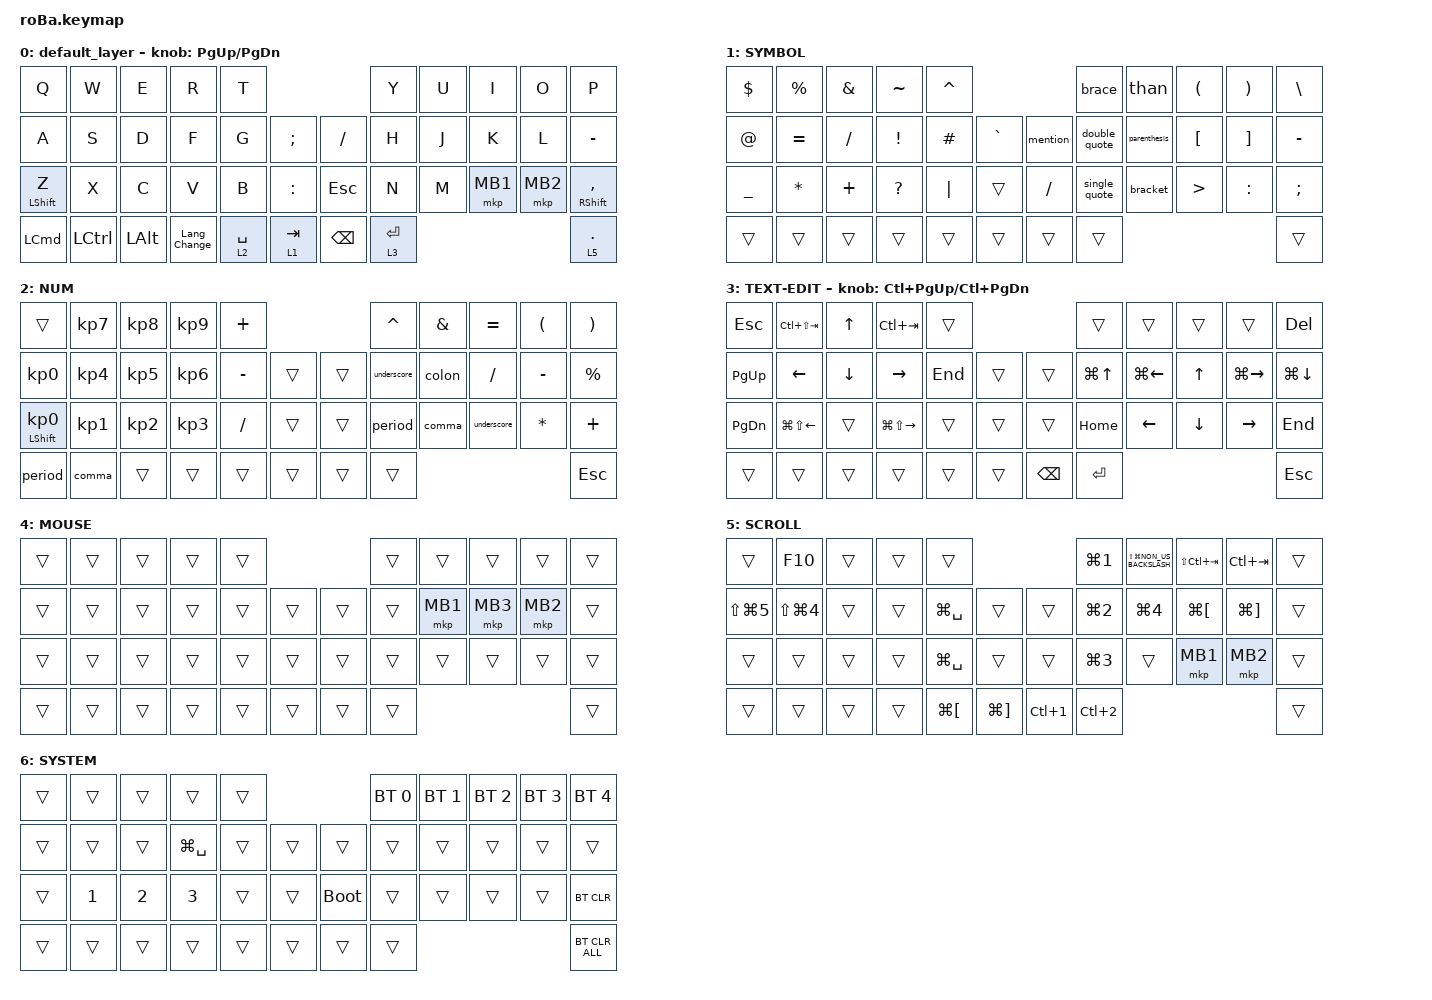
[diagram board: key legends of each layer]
#include <behaviors.dtsi>
#include <dt-bindings/zmk/bt.h>
#include <dt-bindings/zmk/keys.h>
#include <dt-bindings/zmk/pointing.h>

#define MOUSE 4
#define SCROLL 5
#define NUM 6

&mt {
    flavor = "tap-preferred";
    quick-tap-ms = <0>;
    tapping-term-ms = <200>;
};

/ {
    combos {
        compatible = "zmk,combos";

        tab {
            bindings = <&kp TAB>;
            key-positions = <11 12>;
        };

        shift_tab {
            bindings = <&kp LS(TAB)>;
            key-positions = <12 13>;
        };

        muhennkann {
            bindings = <&to_layer_0 INT_MUHENKAN>;
            key-positions = <11 10>;
        };

        double_quotation {
            bindings = <&kp DOUBLE_QUOTES>;
            key-positions = <20 21>;
        };

        eq {
            bindings = <&kp EQUAL>;
            key-positions = <24 25>;
        };
    };

    macros {
        to_layer_0: to_layer_0 {
            compatible = "zmk,behavior-macro-one-param";
            #binding-cells = <1>;
            bindings = <&to 0 &macro_param_1to1 &kp MACRO_PLACEHOLDER>;
            label = "TO_LAYER_0";
        };

        Lang_Change: Lang_Change {
            compatible = "zmk,behavior-macro";
            #binding-cells = <0>;
            bindings = <&kp LC(SPACE)>;
            label = "LANG_CHANGE";
        };

        bracket: bracket {
            compatible = "zmk,behavior-macro";
            #binding-cells = <0>;
            bindings = <&kp LEFT_BRACKET &kp RIGHT_BRACKET &kp ENTER &kp LEFT>;
            label = "BRACKET";
        };

        parenthesis: PARENTHESIS {
            compatible = "zmk,behavior-macro";
            #binding-cells = <0>;
            bindings = <&kp LEFT_PARENTHESIS &kp RIGHT_PARENTHESIS &kp ENTER &kp LEFT>;
            label = "PARENTHESIS";
        };

        brace: brace {
            compatible = "zmk,behavior-macro";
            #binding-cells = <0>;
            bindings = <&kp LEFT_BRACE &kp RIGHT_BRACE &kp ENTER &kp LEFT>;
            label = "BRACE";
        };

        than: than {
            compatible = "zmk,behavior-macro";
            #binding-cells = <0>;
            bindings = <&kp LESS_THAN &kp GREATER_THAN &kp ENTER &kp LEFT>;
            label = "THAN";
        };

        mention: mention {
            compatible = "zmk,behavior-macro";
            #binding-cells = <0>;
            bindings = <&kp LANG1 &kp AT_SIGN &kp SPACE>;
            label = "MENTION";
        };

        double_quote: double_quote {
            compatible = "zmk,behavior-macro";
            #binding-cells = <0>;
            bindings = <&kp DOUBLE_QUOTES &kp DOUBLE_QUOTES &kp ENTER &kp LEFT>;
            label = "DOUBLE_QUOTE";
        };

        single_quote: single_quote {
            compatible = "zmk,behavior-macro";
            #binding-cells = <0>;
            bindings = <&kp SINGLE_QUOTE &kp SINGLE_QUOTE &kp ENTER &kp LEFT>;
            label = "SINGLE_QUOTE";
        };

        minus: minus {
            compatible = "zmk,behavior-macro";
            #binding-cells = <0>;
            bindings = <&kp LANG1 &kp MINUS>;
            label = "MINUS";
        };

        period: period {
            compatible = "zmk,behavior-macro";
            #binding-cells = <0>;
            bindings = <&kp LANG1 &kp PERIOD>;
            label = "PERIOD";
        };

        comma: comma {
            compatible = "zmk,behavior-macro";
            #binding-cells = <0>;
            bindings = <&kp LANG1 &kp COMMA>;
            label = "COMMA";
        };

        underscore: underscore {
            compatible = "zmk,behavior-macro";
            #binding-cells = <0>;
            bindings = <&kp LANG1 &kp UNDERSCORE>;
            label = "UNDERSCORE";
        };

        semicolon: semicolon {
            compatible = "zmk,behavior-macro";
            #binding-cells = <0>;
            bindings = <&kp LANG1 &kp SEMICOLON>;
            label = "SEMICOLON";
        };

        colon: colon {
            compatible = "zmk,behavior-macro";
            #binding-cells = <0>;
            bindings = <&kp LANG1 &kp COLON>;
            label = "COLON";
        };
    };

    behaviors {
        lt_to_layer_0: lt_to_layer_0 {
            compatible = "zmk,behavior-hold-tap";
            label = "LAYER_TAP_TO_0";
            bindings = <&mo>, <&to_layer_0>;

            #binding-cells = <2>;
            tapping-term-ms = <200>;
        };

        new_behavior_TAP: new_behavior_TAP {
            compatible = "zmk,behavior-hold-tap";
            label = "NEW_BEHAVIOR_TAP";
            bindings = <&mt>, <&kp>;

            #binding-cells = <2>;
            quick-tap-ms = <5>;
            tapping-term-ms = <7>;
            hold-trigger-key-positions = <22>;
        };
    };

    keymap {
        compatible = "zmk,keymap";

        default_layer {
            bindings = <
&kp Q             &kp W             &kp E         &kp R         &kp T                                          &kp Y        &kp U  &kp I     &kp O     &kp P
&kp A             &kp S             &kp D         &kp F         &kp G        &kp SEMICOLON      &kp SLASH      &kp H        &kp J  &kp K     &kp L     &kp MINUS
&mt LEFT_SHIFT Z  &kp X             &kp C         &kp V         &kp B        &kp COLON          &kp ESC        &kp N        &kp M  &mkp MB1  &mkp MB2  &mt RIGHT_SHIFT COMMA
&kp LEFT_COMMAND  &kp LEFT_CONTROL  &kp LEFT_ALT  &Lang_Change  &lt 2 SPACE  &lt 1 TAB          &kp BACKSPACE  &lt 3 ENTER                             &lt 5 DOT
            >;

            sensor-bindings = <&inc_dec_kp PG_UP PAGE_DOWN>;
        };

        SYMBOL {
            bindings = <
&kp DOLLAR   &kp PERCENT   &kp AMPERSAND  &kp TILDE        &kp CARET                            &brace         &than         &kp LEFT_PARENTHESIS  &kp RIGHT_PARENTHESIS  &kp BACKSLASH
&kp AT_SIGN  &kp EQUAL     &kp SLASH      &kp EXCLAMATION  &kp HASH   &kp GRAVE      &mention   &double_quote  &parenthesis  &kp LEFT_BRACKET      &kp RIGHT_BRACKET      &kp MINUS
&kp UNDER    &kp ASTERISK  &kp PLUS       &kp QUESTION     &kp PIPE   &trans         &kp SLASH  &single_quote  &bracket      &kp GREATER_THAN      &kp COLON              &kp SEMICOLON
&trans       &trans        &trans         &trans           &trans     &trans         &trans     &trans                                                                    &trans
            >;
        };

        NUM {
            bindings = <
&trans                      &kp KP_NUMBER_7  &kp KP_NUMBER_8  &kp KP_NUMBER_9  &kp PLUS                       &kp CARET    &kp AMPERSAND  &kp EQUAL    &kp LEFT_PARENTHESIS  &kp RIGHT_PARENTHESIS
&kp KP_NUMBER_0             &kp KP_NUMBER_4  &kp KP_NUMBER_5  &kp KP_NUMBER_6  &kp MINUS  &trans      &trans  &underscore  &colon         &kp SLASH    &kp MINUS             &kp PERCENT
&mt LEFT_SHIFT KP_NUMBER_0  &kp KP_NUMBER_1  &kp KP_NUMBER_2  &kp KP_NUMBER_3  &kp SLASH  &trans      &trans  &period      &comma         &underscore  &kp ASTERISK          &kp PLUS
&period                     &comma           &trans           &trans           &trans     &trans      &trans  &trans                                                         &kp ESC
            >;
        };

        TEXT-EDIT {
            bindings = <
&kp ESCAPE     &kp LC(LS(TAB))         &kp UP_ARROW    &kp LC(TAB)              &trans                              &trans            &trans        &trans    &trans         &kp DELETE
&kp PAGE_UP    &kp LEFT_ARROW          &kp DOWN_ARROW  &kp RIGHT_ARROW          &kp END  &trans      &trans         &kp LG(UP_ARROW)  &kp LG(LEFT)  &kp UP    &kp LG(RIGHT)  &kp LG(DOWN_ARROW)
&kp PAGE_DOWN  &kp LG(LS(LEFT_ARROW))  &trans          &kp LG(LS(RIGHT_ARROW))  &trans   &trans      &trans         &kp HOME          &kp LEFT      &kp DOWN  &kp RIGHT      &kp END
&trans         &trans                  &trans          &trans                   &trans   &trans      &kp BACKSPACE  &kp RETURN                                               &kp ESC
            >;

            sensor-bindings = <&inc_dec_kp LC(PAGE_UP) LC(PAGE_DOWN)>;
        };

        MOUSE {
            bindings = <
&trans  &trans  &trans  &trans  &trans                      &trans  &trans    &trans    &trans    &trans
&trans  &trans  &trans  &trans  &trans  &trans      &trans  &trans  &mkp MB1  &mkp MB3  &mkp MB2  &trans
&trans  &trans  &trans  &trans  &trans  &trans      &trans  &trans  &trans    &trans    &trans    &trans
&trans  &trans  &trans  &trans  &trans  &trans      &trans  &trans                                &trans
            >;
        };

        SCROLL {
            bindings = <
&trans          &kp F10               &trans  &trans  &trans                                                             &kp LG(NUMBER_1)  &kp LS(LG(NON_US_BACKSLASH))  &kp LS(LC(TAB))       &kp LC(TAB)            &trans
&kp LS(LG(N5))  &kp LS(LG(NUMBER_4))  &trans  &trans  &kp LG(SPACE)         &trans                     &trans            &kp LG(NUMBER_2)  &kp LG(NUMBER_4)              &kp LG(LEFT_BRACKET)  &kp LG(RIGHT_BRACKET)  &trans
&trans          &trans                &trans  &trans  &kp LG(SPACE)         &trans                     &trans            &kp LG(NUMBER_3)  &trans                        &mkp MB1              &mkp MB2               &trans
&trans          &trans                &trans  &trans  &kp LG(LEFT_BRACKET)  &kp LG(RIGHT_BRACKET)      &kp LC(NUMBER_1)  &kp LC(NUMBER_2)                                                                             &trans
            >;
        };

        SYSTEM {
            bindings = <
&trans  &trans        &trans        &trans         &trans                           &bt BT_SEL 0  &bt BT_SEL 1  &bt BT_SEL 2  &bt BT_SEL 3  &bt BT_SEL 4
&trans  &trans        &trans        &kp LG(SPACE)  &trans  &trans      &trans       &trans        &trans        &trans        &trans        &trans
&trans  &kp NUMBER_1  &kp NUMBER_2  &kp NUMBER_3   &trans  &trans      &bootloader  &trans        &trans        &trans        &trans        &bt BT_CLR
&trans  &trans        &trans        &trans         &trans  &trans      &trans       &trans                                                  &bt BT_CLR_ALL
            >;
        };
    };
};
